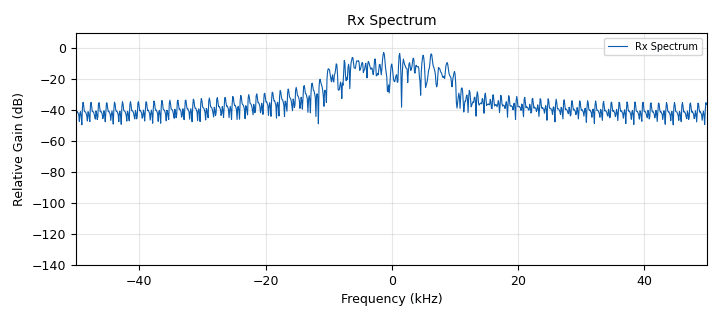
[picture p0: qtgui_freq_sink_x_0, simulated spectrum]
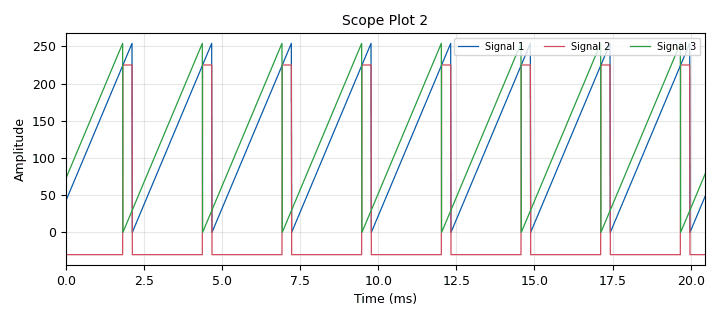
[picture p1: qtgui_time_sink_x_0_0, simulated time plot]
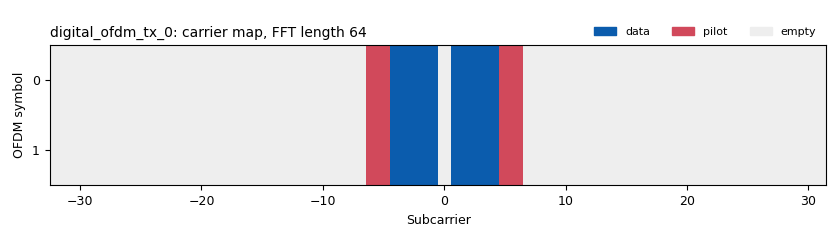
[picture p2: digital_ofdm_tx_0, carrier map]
options:
  parameters:
    category: Custom
    comment: Using vector source
    description: Transmit a pre-defined signal (a complex sine) as OFDM packets.
    generate_options: qt_gui
    id: ofdm_loopback_example
    output_language: python
    title: OFDM Loopback Example
  states: {}

blocks:
- name: delay
  id: variable_qtgui_range
  parameters:
    label: delay
    start: '0'
    step: '1'
    stop: '1000'
    value: '0'
  states: {}
- name: fft_len
  id: variable
  parameters:
    value: '64'
  states: {}
- name: freq_offset
  id: variable_qtgui_range
  parameters:
    label: Frequency Offset (Multiples of Sub-carrier spacing)
    start: '-3'
    step: '.01'
    stop: '3'
    value: '0'
  states: {}
- name: len_tag_key
  id: variable
  parameters:
    value: '"packet_len"'
  states: {}
- name: noise_voltage
  id: variable_qtgui_range
  parameters:
    label: Noise Amplitude
    start: '0'
    step: '.01'
    stop: '2'
    value: '0'
  states: {}
- name: packet_len
  id: variable
  parameters:
    value: '50'
  states: {}
- name: samp_rate
  id: variable
  parameters:
    value: '100000'
  states: {}
- name: Number_sink
  id: qtgui_number_sink
  parameters:
    autoscale: 'True'
    graph_type: qtgui.NUM_GRAPH_HORIZ
    name: BER
    type: float
  states: {}
- name: blocks_delay_0
  id: blocks_delay
  parameters:
    delay: delay
    type: byte
  states: {}
- name: blocks_stream_to_tagged_stream_0
  id: blocks_stream_to_tagged_stream
  parameters:
    len_tag_key: len_tag_key
    packet_len: packet_len
    type: byte
  states: {}
- name: blocks_sub_xx_0
  id: blocks_sub_xx
  parameters:
    type: float
  states: {}
- name: blocks_tag_debug_0
  id: blocks_tag_debug
  parameters:
    display: 'False'
    name: Rx Packets
    type: byte
  states: {}
- name: blocks_throttle_0
  id: blocks_throttle
  parameters:
    samples_per_second: samp_rate
    type: complex
  states: {}
- name: blocks_uchar_to_float_0_1
  id: blocks_uchar_to_float
  parameters: {}
  states: {}
- name: blocks_uchar_to_float_1
  id: blocks_uchar_to_float
  parameters: {}
  states: {}
- name: blocks_vector_source_x_0
  id: blocks_vector_source_x
  parameters:
    repeat: 'True'
    tags: ()
    type: byte
    vector: range(0,255)
  states: {}
- name: channels_channel_model_0
  id: channels_channel_model
  parameters:
    block_tags: 'True'
    epsilon: '1.0'
    freq_offset: freq_offset * 1.0/fft_len
    noise_voltage: noise_voltage
    seed: '0'
    taps: 1.0 + 1.0j
  states: {}
- name: digital_ofdm_rx_0
  id: digital_ofdm_rx
  parameters:
    cp_len: fft_len//4
    fft_len: fft_len
    header_mod: '"BPSK"'
    occupied_carriers: ((-4,-3,-2,-1,1,2,3,4),)
    packet_len_key: '"rx_len"'
    payload_mod: '"QPSK"'
    pilot_carriers: ((-6,-5,5,6),)
    pilot_symbols: ((-1,1,-1,1),)
    sync_word1: None
    sync_word2: None
  states: {}
- name: digital_ofdm_tx_0
  id: digital_ofdm_tx
  parameters:
    cp_len: fft_len//4
    fft_len: fft_len
    header_mod: '"BPSK"'
    occupied_carriers: ((-4,-3,-2,-1,1,2,3,4),)
    packet_len_key: len_tag_key
    payload_mod: '"QPSK"'
    pilot_carriers: ((-6,-5,5,6),)
    pilot_symbols: ((-1,1,-1,1),)
    rolloff: '0'
    sync_word1: None
    sync_word2: None
  states: {}
- name: fec_ber_bf_0
  id: fec_ber_bf
  parameters:
    test_mode: 'False'
  states: {}
- name: qtgui_freq_sink_x_0
  id: qtgui_freq_sink_x
  parameters:
    bw: samp_rate
    fc: '0'
    fftsize: '1024'
    label1: Rx Spectrum
    name: Rx Spectrum
    showports: 'True'
    type: complex
  states: {}
- name: qtgui_time_sink_x_0_0
  id: qtgui_time_sink_x
  parameters:
    autoscale: 'True'
    ctrlpanel: 'True'
    name: '"Scope Plot 2"'
    nconnections: '3'
    size: '2048'
    srate: samp_rate
    type: float
  states: {}
- name: virtual_sink_0
  id: virtual_sink
  parameters:
    stream_id: t1
  states: {}
- name: virtual_source_0
  id: virtual_source
  parameters:
    stream_id: t1
  states: {}

connections:
- [blocks_delay_0, '0', blocks_uchar_to_float_1, '0']
- [blocks_delay_0, '0', fec_ber_bf_0, '1']
- [blocks_stream_to_tagged_stream_0, '0', digital_ofdm_tx_0, '0']
- [blocks_sub_xx_0, '0', qtgui_time_sink_x_0_0, '1']
- [blocks_throttle_0, '0', digital_ofdm_rx_0, '0']
- [blocks_throttle_0, '0', qtgui_freq_sink_x_0, '0']
- [blocks_uchar_to_float_0_1, '0', blocks_sub_xx_0, '0']
- [blocks_uchar_to_float_0_1, '0', qtgui_time_sink_x_0_0, '0']
- [blocks_uchar_to_float_1, '0', blocks_sub_xx_0, '1']
- [blocks_uchar_to_float_1, '0', qtgui_time_sink_x_0_0, '2']
- [blocks_vector_source_x_0, '0', blocks_stream_to_tagged_stream_0, '0']
- [blocks_vector_source_x_0, '0', virtual_sink_0, '0']
- [channels_channel_model_0, '0', blocks_throttle_0, '0']
- [digital_ofdm_rx_0, '0', blocks_tag_debug_0, '0']
- [digital_ofdm_rx_0, '0', blocks_uchar_to_float_0_1, '0']
- [digital_ofdm_rx_0, '0', fec_ber_bf_0, '0']
- [digital_ofdm_tx_0, '0', channels_channel_model_0, '0']
- [fec_ber_bf_0, '0', Number_sink, '0']
- [virtual_source_0, '0', blocks_delay_0, '0']

metadata:
  file_format: 1
